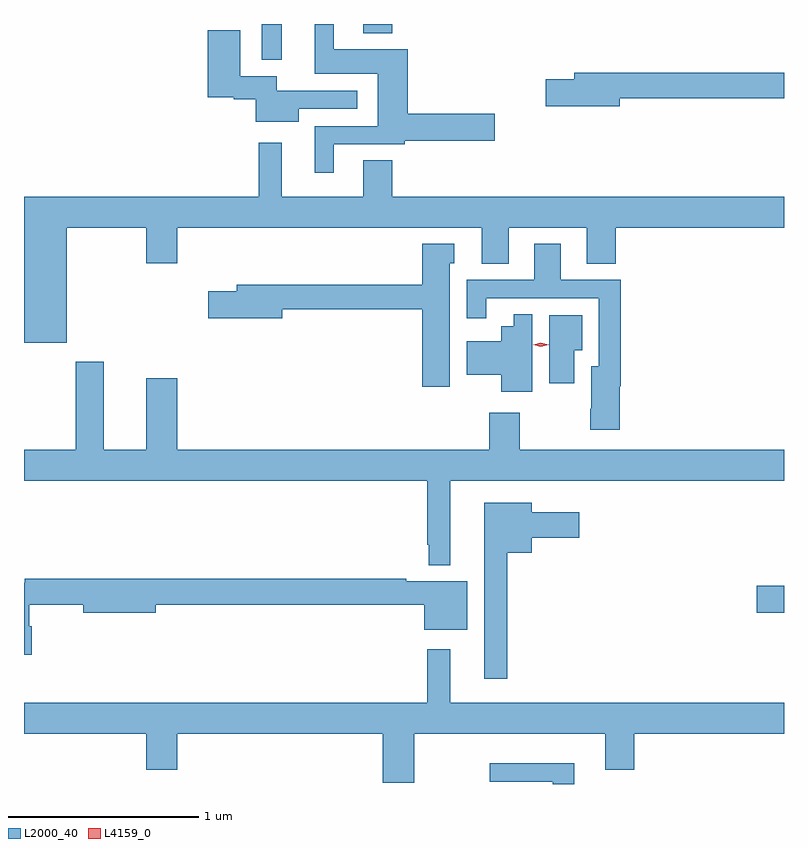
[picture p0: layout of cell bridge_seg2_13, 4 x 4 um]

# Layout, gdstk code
import gdstk
lib = gdstk.Library(unit=1e-6, precision=1e-09)
def R(c, l, rs):  # rectangles x0, y0, x1, y1
    for r in rs: c.add(gdstk.rectangle(r[:2], r[2:], *l))
def P(c, l, *ps):  # polygons
    for p in ps: c.add(gdstk.Polygon(p, *l))
L2000_40 = (2000, 40)
L4159_0 = (4159, 0)

bridge_seg2_13 = lib.new_cell('bridge_seg2_13')
R(bridge_seg2_13, L2000_40, [(767.622,617.638,767.765,617.78), (765.017,620.547,765.121,620.736), (765.551,620.687,765.704,620.736)])
P(bridge_seg2_13, L2000_40, [(765.394,620.103),(765.768,620.103),(765.768,620.122),(766.243,620.122),(766.243,620.264),(765.785,620.264),(765.785,620.602),(765.394,620.602),(765.394,620.736),(765.296,620.736),(765.296,620.474),(765.626,620.474),(765.626,620.199),(765.296,620.199),(765.296,619.953),(765.394,619.953)],
  [(765.211,620.289),(765.52,620.289),(765.52,620.385),(765.094,620.385),(765.094,620.461),(764.902,620.461),(764.902,620.704),(764.732,620.704),(764.732,620.351),(764.868,620.351),(764.868,620.339),(764.984,620.339),(764.984,620.222),(765.211,620.222)],
  [(766.9,620.344),(767.765,620.344),(767.765,620.48),(766.661,620.48),(766.661,620.444),(766.512,620.444),(766.512,620.302),(766.9,620.302)],
  [(763.99,619.664),(764.408,619.664),(764.408,619.476),(764.572,619.476),(764.572,619.664),(766.175,619.664),(766.175,619.474),(766.315,619.474),(766.315,619.664),(766.727,619.664),(766.727,619.474),(766.88,619.474),(766.88,619.664),(767.765,619.664),(767.765,619.828),(765.704,619.828),(765.704,620.018),(765.551,620.018),(765.551,619.828),(765.121,619.828),(765.121,620.11),(765,620.11),(765,619.828),(763.765,619.828),(763.765,619.058),(763.99,619.058)],
  [(766.006,619.476),(766.03,619.476),(766.03,619.579),(765.86,619.579),(765.86,619.363),(764.885,619.363),(764.885,619.329),(764.736,619.329),(764.736,619.187),(765.124,619.187),(765.124,619.234),(765.86,619.234),(765.86,618.828),(766.006,618.828)],
  [(766.901,618.83),(766.907,618.83),(766.907,619.389),(766.591,619.389),(766.591,619.579),(766.451,619.579),(766.451,619.389),(766.094,619.389),(766.094,619.188),(766.198,619.188),(766.198,619.293),(766.791,619.293),(766.791,618.934),(766.751,618.934),(766.751,618.712),(766.744,618.712),(766.744,618.6),(766.901,618.6)],
  [(766.44,619.208),(766.343,619.208),(766.343,619.144),(766.277,619.144),(766.277,619.066),(766.094,619.066),(766.094,618.89),(766.277,618.89),(766.277,618.8),(766.44,618.8)],
  [(766.66,619.019),(766.702,619.019),(766.702,619.204),(766.529,619.204),(766.529,618.846),(766.66,618.846)],
  [(766.009,618.332),(767.765,618.332),(767.765,618.496),(766.374,618.496),(766.374,618.691),(766.214,618.691),(766.214,618.496),(764.572,618.496),(764.572,618.871),(764.408,618.871),(764.408,618.496),(764.185,618.496),(764.185,618.958),(764.038,618.958),(764.038,618.496),(763.765,618.496),(763.765,618.332),(765.888,618.332),(765.888,617.995),(765.894,617.995),(765.894,617.888),(766.009,617.888)],
  [(766.309,617.954),(766.438,617.954),(766.438,618.032),(766.687,618.032),(766.687,618.166),(766.438,618.166),(766.438,618.217),(766.187,618.217),(766.187,617.289),(766.309,617.289)],
  [(763.805,617.565),(763.792,617.565),(763.792,617.68),(764.078,617.68),(764.078,617.638),(764.458,617.638),(764.458,617.68),(765.872,617.68),(765.872,617.549),(766.099,617.549),(766.099,617.803),(765.776,617.803),(765.776,617.816),(763.768,617.816),(763.768,617.796),(763.765,617.796),(763.765,617.415),(763.805,617.415)],
  [(765.818,617),(766.823,617),(766.823,616.81),(766.976,616.81),(766.976,617),(767.765,617),(767.765,617.164),(766.009,617.164),(766.009,617.446),(765.888,617.446),(765.888,617.164),(763.765,617.164),(763.765,617),(764.408,617),(764.408,616.812),(764.572,616.812),(764.572,617),(765.653,617),(765.653,616.743),(765.818,616.743)],
  [(766.66,616.846),(766.215,616.846),(766.215,616.749),(766.547,616.749),(766.547,616.736),(766.66,616.736)])
P(bridge_seg2_13, L4159_0, [(766.485,619.038),(766.445,619.047),(766.445,619.047),(766.445,619.047),(766.485,619.058),(766.526,619.049),(766.526,619.049),(766.526,619.049)])

lib.write_gds('bridge_seg2_13.gds')
